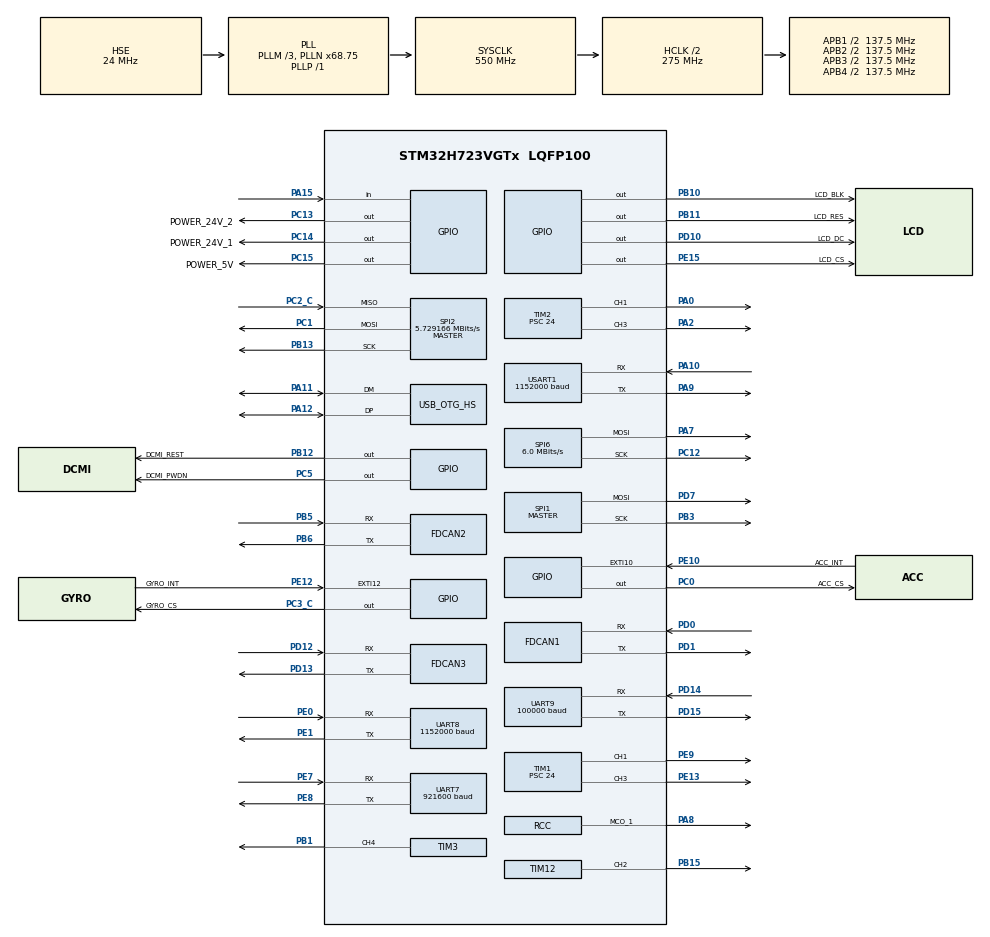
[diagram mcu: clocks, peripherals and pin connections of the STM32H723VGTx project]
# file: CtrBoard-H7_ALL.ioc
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CORTEX_M7.CPU_DCache=Enabled
CORTEX_M7.CPU_ICache=Enabled
Dma.Request0=UART7_TX
Dma.Request1=UART7_RX
Dma.Request2=USART1_RX
Dma.Request3=USART1_TX
Dma.Request4=UART9_RX
Dma.Request5=UART8_RX
Dma.Request6=UART8_TX
Dma.UART7_RX.1.Direction=DMA_PERIPH_TO_MEMORY
Dma.UART7_RX.1.EventEnable=DISABLE
Dma.UART7_RX.1.FIFOMode=DMA_FIFOMODE_DISABLE
Dma.UART7_RX.1.Instance=DMA1_Stream2
Dma.UART7_RX.1.MemDataAlignment=DMA_MDATAALIGN_BYTE
Dma.UART7_RX.1.MemInc=DMA_MINC_ENABLE
Dma.UART7_RX.1.Mode=DMA_CIRCULAR
Dma.UART7_RX.1.PeriphDataAlignment=DMA_PDATAALIGN_BYTE
Dma.UART7_RX.1.PeriphInc=DMA_PINC_DISABLE
Dma.UART7_RX.1.Polarity=HAL_DMAMUX_REQ_GEN_RISING
Dma.UART7_RX.1.Priority=DMA_PRIORITY_LOW
Dma.UART7_RX.1.RequestNumber=1
Dma.UART7_RX.1.SignalID=NONE
Dma.UART7_RX.1.SyncEnable=DISABLE
Dma.UART7_RX.1.SyncPolarity=HAL_DMAMUX_SYNC_NO_EVENT
Dma.UART7_RX.1.SyncRequestNumber=1
Dma.UART7_RX.1.SyncSignalID=NONE
Dma.UART7_TX.0.Direction=DMA_MEMORY_TO_PERIPH
Dma.UART7_TX.0.EventEnable=DISABLE
Dma.UART7_TX.0.FIFOMode=DMA_FIFOMODE_DISABLE
Dma.UART7_TX.0.Instance=DMA1_Stream1
Dma.UART7_TX.0.MemDataAlignment=DMA_MDATAALIGN_BYTE
Dma.UART7_TX.0.MemInc=DMA_MINC_ENABLE
Dma.UART7_TX.0.Mode=DMA_CIRCULAR
Dma.UART7_TX.0.PeriphDataAlignment=DMA_PDATAALIGN_BYTE
Dma.UART7_TX.0.PeriphInc=DMA_PINC_DISABLE
Dma.UART7_TX.0.Polarity=HAL_DMAMUX_REQ_GEN_RISING
Dma.UART7_TX.0.Priority=DMA_PRIORITY_LOW
Dma.UART7_TX.0.RequestNumber=1
Dma.UART7_TX.0.SignalID=NONE
Dma.UART7_TX.0.SyncEnable=DISABLE
Dma.UART7_TX.0.SyncPolarity=HAL_DMAMUX_SYNC_NO_EVENT
Dma.UART7_TX.0.SyncRequestNumber=1
Dma.UART7_TX.0.SyncSignalID=NONE
Dma.UART8_RX.5.Direction=DMA_PERIPH_TO_MEMORY
Dma.UART8_RX.5.EventEnable=DISABLE
Dma.UART8_RX.5.FIFOMode=DMA_FIFOMODE_DISABLE
Dma.UART8_RX.5.Instance=DMA1_Stream5
Dma.UART8_RX.5.MemDataAlignment=DMA_MDATAALIGN_BYTE
Dma.UART8_RX.5.MemInc=DMA_MINC_ENABLE
Dma.UART8_RX.5.Mode=DMA_CIRCULAR
Dma.UART8_RX.5.PeriphDataAlignment=DMA_PDATAALIGN_BYTE
Dma.UART8_RX.5.PeriphInc=DMA_PINC_DISABLE
Dma.UART8_RX.5.Polarity=HAL_DMAMUX_REQ_GEN_RISING
Dma.UART8_RX.5.Priority=DMA_PRIORITY_LOW
Dma.UART8_RX.5.RequestNumber=1
Dma.UART8_RX.5.SignalID=NONE
Dma.UART8_RX.5.SyncEnable=DISABLE
Dma.UART8_RX.5.SyncPolarity=HAL_DMAMUX_SYNC_NO_EVENT
Dma.UART8_RX.5.SyncRequestNumber=1
Dma.UART8_RX.5.SyncSignalID=NONE
Dma.UART8_TX.6.Direction=DMA_MEMORY_TO_PERIPH
Dma.UART8_TX.6.EventEnable=DISABLE
Dma.UART8_TX.6.FIFOMode=DMA_FIFOMODE_DISABLE
Dma.UART8_TX.6.Instance=DMA1_Stream7
Dma.UART8_TX.6.MemDataAlignment=DMA_MDATAALIGN_BYTE
Dma.UART8_TX.6.MemInc=DMA_MINC_ENABLE
Dma.UART8_TX.6.Mode=DMA_NORMAL
Dma.UART8_TX.6.PeriphDataAlignment=DMA_PDATAALIGN_BYTE
Dma.UART8_TX.6.PeriphInc=DMA_PINC_DISABLE
Dma.UART8_TX.6.Polarity=HAL_DMAMUX_REQ_GEN_RISING
Dma.UART8_TX.6.Priority=DMA_PRIORITY_LOW
Dma.UART8_TX.6.RequestNumber=1
Dma.UART8_TX.6.SignalID=NONE
Dma.UART8_TX.6.SyncEnable=DISABLE
Dma.UART8_TX.6.SyncPolarity=HAL_DMAMUX_SYNC_NO_EVENT
Dma.UART8_TX.6.SyncRequestNumber=1
Dma.UART8_TX.6.SyncSignalID=NONE
Dma.UART9_RX.4.Direction=DMA_PERIPH_TO_MEMORY
Dma.UART9_RX.4.EventEnable=DISABLE
Dma.UART9_RX.4.FIFOMode=DMA_FIFOMODE_DISABLE
Dma.UART9_RX.4.Instance=DMA1_Stream4
Dma.UART9_RX.4.MemDataAlignment=DMA_MDATAALIGN_BYTE
Dma.UART9_RX.4.MemInc=DMA_MINC_ENABLE
Dma.UART9_RX.4.Mode=DMA_CIRCULAR
Dma.UART9_RX.4.PeriphDataAlignment=DMA_PDATAALIGN_BYTE
Dma.UART9_RX.4.PeriphInc=DMA_PINC_DISABLE
Dma.UART9_RX.4.Polarity=HAL_DMAMUX_REQ_GEN_RISING
Dma.UART9_RX.4.Priority=DMA_PRIORITY_LOW
Dma.UART9_RX.4.RequestNumber=1
Dma.UART9_RX.4.SignalID=NONE
Dma.UART9_RX.4.SyncEnable=DISABLE
Dma.UART9_RX.4.SyncPolarity=HAL_DMAMUX_SYNC_NO_EVENT
Dma.UART9_RX.4.SyncRequestNumber=1
Dma.UART9_RX.4.SyncSignalID=NONE
Dma.USART1_RX.2.Direction=DMA_PERIPH_TO_MEMORY
Dma.USART1_RX.2.EventEnable=DISABLE
Dma.USART1_RX.2.FIFOMode=DMA_FIFOMODE_DISABLE
Dma.USART1_RX.2.Instance=DMA1_Stream3
Dma.USART1_RX.2.MemDataAlignment=DMA_MDATAALIGN_BYTE
Dma.USART1_RX.2.MemInc=DMA_MINC_ENABLE
Dma.USART1_RX.2.Mode=DMA_CIRCULAR
Dma.USART1_RX.2.PeriphDataAlignment=DMA_PDATAALIGN_BYTE
Dma.USART1_RX.2.PeriphInc=DMA_PINC_DISABLE
Dma.USART1_RX.2.Polarity=HAL_DMAMUX_REQ_GEN_RISING
Dma.USART1_RX.2.Priority=DMA_PRIORITY_LOW
Dma.USART1_RX.2.RequestNumber=1
Dma.USART1_RX.2.SignalID=NONE
Dma.USART1_RX.2.SyncEnable=DISABLE
Dma.USART1_RX.2.SyncPolarity=HAL_DMAMUX_SYNC_NO_EVENT
Dma.USART1_RX.2.SyncRequestNumber=1
Dma.USART1_RX.2.SyncSignalID=NONE
Dma.USART1_TX.3.Direction=DMA_MEMORY_TO_PERIPH
Dma.USART1_TX.3.EventEnable=DISABLE
Dma.USART1_TX.3.FIFOMode=DMA_FIFOMODE_DISABLE
Dma.USART1_TX.3.Instance=DMA1_Stream6
Dma.USART1_TX.3.MemDataAlignment=DMA_MDATAALIGN_BYTE
Dma.USART1_TX.3.MemInc=DMA_MINC_ENABLE
Dma.USART1_TX.3.Mode=DMA_NORMAL
Dma.USART1_TX.3.PeriphDataAlignment=DMA_PDATAALIGN_BYTE
Dma.USART1_TX.3.PeriphInc=DMA_PINC_DISABLE
Dma.USART1_TX.3.Polarity=HAL_DMAMUX_REQ_GEN_RISING
Dma.USART1_TX.3.Priority=DMA_PRIORITY_LOW
Dma.USART1_TX.3.RequestNumber=1
Dma.USART1_TX.3.SignalID=NONE
Dma.USART1_TX.3.SyncEnable=DISABLE
Dma.USART1_TX.3.SyncPolarity=HAL_DMAMUX_SYNC_NO_EVENT
Dma.USART1_TX.3.SyncRequestNumber=1
Dma.USART1_TX.3.SyncSignalID=NONE
FDCAN1.AutoRetransmission=ENABLE
FDCAN1.CalculateBaudRateNominal=1000000
FDCAN1.CalculateTimeBitNominal=1000
FDCAN1.CalculateTimeQuantumNominal=125.0
FDCAN1.DataPrescaler=3
FDCAN1.DataTimeSeg1=5
FDCAN1.DataTimeSeg2=2
FDCAN1.FrameFormat=FDCAN_FRAME_FD_BRS
FDCAN1.NominalPrescaler=3
FDCAN1.NominalTimeSeg1=5
FDCAN1.NominalTimeSeg2=2
FDCAN1.RxFifo0ElmtsNbr=32
FDCAN1.StdFiltersNbr=1
FDCAN1.TransmitPause=DISABLE
FDCAN1.TxFifoQueueElmtsNbr=32
FDCAN2.AutoRetransmission=ENABLE
FDCAN2.CalculateBaudRateNominal=1000000
FDCAN2.CalculateTimeBitNominal=1000
FDCAN2.CalculateTimeQuantumNominal=125.0
FDCAN2.DataPrescaler=3
FDCAN2.DataTimeSeg1=5
FDCAN2.DataTimeSeg2=2
FDCAN2.MessageRAMOffset=0x406
FDCAN2.NominalPrescaler=3
FDCAN2.NominalTimeSeg1=5
FDCAN2.NominalTimeSeg2=2
FDCAN2.RxFifo0ElmtsNbr=32
FDCAN2.StdFiltersNbr=1
FDCAN2.TxFifoQueueElmtsNbr=32
FDCAN3.AutoRetransmission=ENABLE
FDCAN3.CalculateBaudRateNominal=1000000
FDCAN3.CalculateTimeBitNominal=1000
FDCAN3.CalculateTimeQuantumNominal=125.0
FDCAN3.DataPrescaler=3
FDCAN3.DataTimeSeg1=5
FDCAN3.DataTimeSeg2=2
FDCAN3.FrameFormat=FDCAN_FRAME_CLASSIC
FDCAN3.MessageRAMOffset=0x812
FDCAN3.NominalPrescaler=3
FDCAN3.NominalTimeSeg1=5
FDCAN3.NominalTimeSeg2=2
FDCAN3.RxFifo0ElmtsNbr=32
FDCAN3.StdFiltersNbr=1
FDCAN3.TxFifoQueueElmtsNbr=32
FREERTOS.INCLUDE_eTaskGetState=1
FREERTOS.INCLUDE_pcTaskGetTaskName=1
FREERTOS.INCLUDE_uxTaskGetStackHighWaterMark=1
FREERTOS.INCLUDE_uxTaskGetStackHighWaterMark2=1
FREERTOS.INCLUDE_vTaskCleanUpResources=1
FREERTOS.INCLUDE_vTaskDelayUntil=1
FREERTOS.INCLUDE_xQueueGetMutexHolder=1
FREERTOS.INCLUDE_xSemaphoreGetMutexHolder=1
FREERTOS.INCLUDE_xTaskAbortDelay=1
FREERTOS.INCLUDE_xTaskGetCurrentTaskHandle=1
FREERTOS.INCLUDE_xTaskGetHandle=1
FREERTOS.INCLUDE_xTimerPendFunctionCall=1
FREERTOS.Tasks01=defaultTask,0,128,StartDefaultTask,Default,NULL,Dynamic,NULL,NULL;commTask,1,512,commTask_Entry,Default,NULL,Dynamic,NULL,NULL;imuTask,2,512,imuTask_Entry,Default,NULL,Dynamic,NULL,NULL;policyTask,2,2048,policyTask_Entry,Default,NULL,Dynamic,NULL,NULL;actuationTask,3,1024,actuationTask_Entry,Default,NULL,Dynamic,NULL,NULL
FREERTOS.configENABLE_FPU=1
FREERTOS.configTIMER_TASK_PRIORITY=2
FREERTOS.configTOTAL_HEAP_SIZE=30720
FREERTOS.configUSE_COUNTING_SEMAPHORES=1
FREERTOS.configUSE_RECURSIVE_MUTEXES=1
FREERTOS.configUSE_TIMERS=1
FREERTOS.configUSE_TRACE_FACILITY=0
Mcu.Family=STM32H7
Mcu.Name=STM32H723VGTx
Mcu.Package=LQFP100
NVIC.DMA1_Stream1_IRQn=true\:5\:0\:false\:false\:true\:true\:false\:true\:true
NVIC.DMA1_Stream2_IRQn=true\:5\:0\:false\:false\:true\:true\:false\:true\:true
NVIC.DMA1_Stream3_IRQn=true\:5\:0\:false\:false\:true\:true\:false\:true\:true
NVIC.DMA1_Stream4_IRQn=true\:5\:0\:false\:false\:true\:true\:false\:true\:true
NVIC.DMA1_Stream5_IRQn=true\:5\:0\:false\:false\:true\:true\:false\:true\:true
NVIC.DMA1_Stream6_IRQn=true\:5\:0\:false\:false\:true\:true\:false\:true\:true
NVIC.DMA1_Stream7_IRQn=true\:5\:0\:false\:false\:true\:true\:false\:true\:true
NVIC.FDCAN1_IT0_IRQn=true\:5\:0\:false\:false\:true\:true\:true\:true\:true
NVIC.FDCAN1_IT1_IRQn=true\:5\:0\:false\:false\:true\:true\:true\:true\:true
NVIC.FDCAN2_IT0_IRQn=true\:5\:0\:false\:false\:true\:true\:true\:true\:true
NVIC.FDCAN2_IT1_IRQn=true\:5\:0\:false\:false\:true\:true\:true\:true\:true
NVIC.FDCAN3_IT0_IRQn=true\:5\:0\:false\:false\:true\:true\:true\:true\:true
NVIC.FDCAN3_IT1_IRQn=true\:5\:0\:false\:false\:true\:true\:true\:true\:true
NVIC.OTG_HS_IRQn=true\:5\:0\:false\:false\:true\:true\:false\:true\:true
NVIC.PriorityGroup=NVIC_PRIORITYGROUP_4
NVIC.TIM23_IRQn=true\:15\:0\:false\:false\:true\:false\:false\:true\:true
NVIC.TIM6_DAC_IRQn=true\:5\:0\:false\:false\:true\:true\:true\:true\:true
NVIC.TimeBase=TIM23_IRQn
NVIC.TimeBaseIP=TIM23
NVIC.UART7_IRQn=true\:5\:0\:true\:false\:true\:false\:true\:true\:true
NVIC.UART8_IRQn=true\:5\:0\:false\:false\:true\:true\:true\:true\:true
NVIC.UART9_IRQn=true\:5\:0\:false\:false\:true\:true\:true\:true\:true
NVIC.USART1_IRQn=true\:5\:0\:true\:false\:true\:false\:true\:true\:true
PA0.Signal=S_TIM2_CH1_ETR
PA10.Mode=Asynchronous
PA10.Signal=USART1_RX
PA11.Mode=Device_Only_FS
PA11.Signal=USB_OTG_HS_DM
PA12.Mode=Device_Only_FS
PA12.Signal=USB_OTG_HS_DP
PA13(JTMS/SWDIO).Mode=Serial_Wire
PA13(JTMS/SWDIO).Signal=DEBUG_JTMS-SWDIO
PA14(JTCK/SWCLK).Mode=Serial_Wire
PA14(JTCK/SWCLK).Signal=DEBUG_JTCK-SWCLK
PA15(JTDI).Signal=GPIO_Input
PA2.Signal=S_TIM2_CH3
PA7.Mode=TX_Only_Simplex_Unidirect_Master
PA7.Signal=SPI6_MOSI
PA8.Mode=Clock-out-1
PA8.Signal=RCC_MCO_1
PA9.Mode=Asynchronous
PA9.Signal=USART1_TX
PB1.Signal=S_TIM3_CH4
PB10.GPIO_Label=LCD_BLK
PB10.Signal=GPIO_Output
PB11.GPIO_Label=LCD_RES
PB11.Signal=GPIO_Output
PB12.GPIO_Label=DCMI_REST
PB12.GPIO_PuPd=GPIO_PULLUP
PB12.GPIO_Speed=GPIO_SPEED_FREQ_VERY_HIGH
PB12.PinState=GPIO_PIN_SET
PB12.Signal=GPIO_Output
PB13.GPIO_Speed=GPIO_SPEED_FREQ_VERY_HIGH
PB13.Mode=Full_Duplex_Master
PB13.Signal=SPI2_SCK
PB15.Signal=S_TIM12_CH2
PB3(JTDO/TRACESWO).GPIO_Speed=GPIO_SPEED_FREQ_VERY_HIGH
PB3(JTDO/TRACESWO).Mode=TX_Only_Simplex_Unidirect_Master
PB3(JTDO/TRACESWO).Signal=SPI1_SCK
PB5.Mode=FDCAN_Activate
PB5.Signal=FDCAN2_RX
PB6.Mode=FDCAN_Activate
PB6.Signal=FDCAN2_TX
PC0.GPIO_Label=ACC_CS
PC0.GPIO_Speed=GPIO_SPEED_FREQ_VERY_HIGH
PC0.PinState=GPIO_PIN_SET
PC0.Signal=GPIO_Output
PC1.GPIO_Speed=GPIO_SPEED_FREQ_VERY_HIGH
PC1.Mode=Full_Duplex_Master
PC1.Signal=SPI2_MOSI
PC12.Mode=TX_Only_Simplex_Unidirect_Master
PC12.Signal=SPI6_SCK
PC13.GPIO_Label=POWER_24V_2
PC13.PinState=GPIO_PIN_SET
PC13.Signal=GPIO_Output
PC14-OSC32_IN.GPIO_Label=POWER_24V_1
PC14-OSC32_IN.PinState=GPIO_PIN_SET
PC14-OSC32_IN.Signal=GPIO_Output
PC15-OSC32_OUT.GPIO_Label=POWER_5V
PC15-OSC32_OUT.PinState=GPIO_PIN_SET
PC15-OSC32_OUT.Signal=GPIO_Output
PC2_C.GPIO_Speed=GPIO_SPEED_FREQ_VERY_HIGH
PC2_C.Mode=Full_Duplex_Master
PC2_C.Signal=SPI2_MISO
PC3_C.GPIO_Label=GYRO_CS
PC3_C.GPIO_Speed=GPIO_SPEED_FREQ_VERY_HIGH
PC3_C.PinState=GPIO_PIN_SET
PC3_C.Signal=GPIO_Output
PC5.GPIO_Label=DCMI_PWDN
PC5.GPIO_PuPd=GPIO_NOPULL
PC5.GPIO_Speed=GPIO_SPEED_FREQ_VERY_HIGH
PC5.PinState=GPIO_PIN_SET
PC5.Signal=GPIO_Output
PD0.Mode=FDCAN_Activate
PD0.Signal=FDCAN1_RX
PD1.Mode=FDCAN_Activate
PD1.Signal=FDCAN1_TX
PD10.GPIO_Label=LCD_DC
PD10.Signal=GPIO_Output
PD12.Mode=FDCAN_Activate
PD12.Signal=FDCAN3_RX
PD13.Mode=FDCAN_Activate
PD13.Signal=FDCAN3_TX
PD14.Mode=Asynchronous
PD14.Signal=UART9_RX
PD15.Mode=Asynchronous
PD15.Signal=UART9_TX
PD7.GPIO_Speed=GPIO_SPEED_FREQ_VERY_HIGH
PD7.Mode=TX_Only_Simplex_Unidirect_Master
PD7.Signal=SPI1_MOSI
PE0.Mode=Asynchronous
PE0.Signal=UART8_RX
PE1.Mode=Asynchronous
PE1.Signal=UART8_TX
PE10.GPIO_Label=ACC_INT
PE10.Signal=GPXTI10
PE12.GPIO_Label=GYRO_INT
PE12.Signal=GPXTI12
PE13.Signal=S_TIM1_CH3
PE15.GPIO_Label=LCD_CS
PE15.Signal=GPIO_Output
PE7.Mode=Asynchronous
PE7.Signal=UART7_RX
PE8.Mode=Asynchronous
PE8.Signal=UART7_TX
PE9.Signal=S_TIM1_CH1
PH0-OSC_IN.Mode=HSE-External-Oscillator
PH0-OSC_IN.Signal=RCC_OSC_IN
PH1-OSC_OUT.Mode=HSE-External-Oscillator
PH1-OSC_OUT.Signal=RCC_OSC_OUT
ProjectManager.HeapSize=0x800
ProjectManager.StackSize=0x800
ProjectManager.TargetToolchain=MDK-ARM V5.27
RCC.ADCFreq_Value=96000000
RCC.APB1Freq_Value=137500000
RCC.APB2Freq_Value=137500000
RCC.APB3Freq_Value=137500000
RCC.APB4Freq_Value=137500000
RCC.CortexFreq_Value=550000000
RCC.D1PPRE=RCC_APB3_DIV2
RCC.D2PPRE1=RCC_APB1_DIV2
RCC.D2PPRE2=RCC_APB2_DIV2
RCC.D3PPRE=RCC_APB4_DIV2
RCC.DIVM1=3
RCC.DIVM2=2
RCC.DIVN1=68
RCC.DIVN2=16
RCC.DIVP1=1
RCC.DIVQ1=3
RCC.EnbaleCSS=false
RCC.FDCANCLockSelection=RCC_FDCANCLKSOURCE_HSE
RCC.HCLKFreq_Value=275000000
RCC.HPRE=RCC_HCLK_DIV2
RCC.HSE_VALUE=24000000
RCC.PLL2FRACN=0
RCC.PLL2_VCI_Range-AdvancedSettings=RCC_PLL2VCIRANGE_0
RCC.PLL2_VCO_SEL-AdvancedSettings=RCC_PLL2VCOWIDE
RCC.PLL3FRACN=0
RCC.PLL3_VCO_SEL-AdvancedSettings=RCC_PLL3VCOMEDIUM
RCC.PLLFRACN=6144
RCC.PLLSourceVirtual=RCC_PLLSOURCE_HSE
RCC.SPI6CLockSelection=RCC_SPI6CLKSOURCE_HSE
RCC.SYSCLKFreq_VALUE=550000000
RCC.SYSCLKSource=RCC_SYSCLKSOURCE_PLLCLK
RCC.USBCLockSelection=RCC_USBCLKSOURCE_HSI48
RCC.USBFreq_Value=48000000
SH.S_TIM12_CH2.0=TIM12_CH2,PWM Generation2 CH2
SH.S_TIM1_CH1.0=TIM1_CH1,PWM Generation1 CH1
SH.S_TIM1_CH3.0=TIM1_CH3,PWM Generation3 CH3
SH.S_TIM2_CH1_ETR.0=TIM2_CH1,PWM Generation1 CH1
SH.S_TIM2_CH3.0=TIM2_CH3,PWM Generation3 CH3
SH.S_TIM3_CH4.0=TIM3_CH4,PWM Generation4 CH4
SPI1.BaudRatePrescaler=SPI_BAUDRATEPRESCALER_4
SPI1.CLKPolarity=SPI_POLARITY_HIGH
SPI1.CalculateBaudRate=45.833332 MBits/s
SPI1.DataSize=SPI_DATASIZE_8BIT
SPI1.Direction=SPI_DIRECTION_2LINES_TXONLY
SPI1.Mode=SPI_MODE_MASTER
SPI1.VirtualType=VM_MASTER
SPI2.BaudRatePrescaler=SPI_BAUDRATEPRESCALER_32
SPI2.CLKPhase=SPI_PHASE_2EDGE
SPI2.CLKPolarity=SPI_POLARITY_HIGH
SPI2.CalculateBaudRate=5.729166 MBits/s
SPI2.DataSize=SPI_DATASIZE_8BIT
SPI2.Direction=SPI_DIRECTION_2LINES
SPI2.Mode=SPI_MODE_MASTER
SPI2.VirtualType=VM_MASTER
SPI6.BaudRatePrescaler=SPI_BAUDRATEPRESCALER_4
SPI6.CLKPhase=SPI_PHASE_2EDGE
SPI6.CalculateBaudRate=6.0 MBits/s
SPI6.DataSize=SPI_DATASIZE_8BIT
SPI6.Direction=SPI_DIRECTION_2LINES_TXONLY
SPI6.Mode=SPI_MODE_MASTER
SPI6.VirtualType=VM_MASTER
STMicroelectronics.X-CUBE-AI.10.2.0.ActivationBufferSizeList=5100
STMicroelectronics.X-CUBE-AI.10.2.0.ActivationBuffers=pool0
STMicroelectronics.X-CUBE-AI.10.2.0.ActivationNames=pool0
STMicroelectronics.X-CUBE-AI.10.2.0.ActivationSizes=AI_NETWORKZN1_DATA_ACTIVATION_1_SIZE
STMicroelectronics.X-CUBE-AI.10.2.0.HeapSize=0x800
STMicroelectronics.X-CUBE-AI.10.2.0.InternalRamActivationBufferMaxSize=AI_NETWORKZN1_DATA_ACTIVATIONS_SIZE
STMicroelectronics.X-CUBE-AI.10.2.0.LatestDirectoryUsed-0f0e31d31f1e26a50c250fff853ff63904772c2039f2d0c569fd44311027b14e=C\:\\Users\\ynz\\Desktop\\zzzzzzzz\\0~0Hal_zzzz\\h723(DM_Borad)\\XYEGA_RM2026_WheelLeg_Infatry_RLdeploy-main\\pseudocode\\example\\onnx\\stable
STMicroelectronics.X-CUBE-AI.10.2.0.LatestDirectoryUsed-301daaeec0ac2cc533a16046af03d4ca865ba729386ae4017f9544c442a11d9b=C\:\\Users\\ynz\\Desktop
STMicroelectronics.X-CUBE-AI.10.2.0.LatestDirectoryUsed-4e3019861dd4673e1fc7d22039481e5629420e96bbde0999b446c887c9c844ae=C\:\\Users\\ynz\\Desktop\\zzzzzzzz\\0~0Hal_zzzz\\h723(DM_Borad)\\XYEGA_RM2026_WheelLeg_Infatry_RLdeploy-main\\pseudocode\\example\\onnx\\upstairs
STMicroelectronics.X-CUBE-AI.10.2.0.LatestDirectoryUsed-7975124662dd4425522c2c34e8f1622b51e5c35ca2b3422b2313b540a5ef6493=C\:\\Users\\ynz\\Desktop\\zzzzzzzz\\0~0Hal_zzzz\\h723(DM_Borad)\\XYEGA_RM2026_WheelLeg_Infatry_RLdeploy-main\\pseudocode\\example\\onnx\\upstairs
STMicroelectronics.X-CUBE-AI.10.2.0.MaximumNumberOfInputLayer=2
STMicroelectronics.X-CUBE-AI.10.2.0.MaximumNumberOfOutputLayer=1
STMicroelectronics.X-CUBE-AI.10.2.0.MaximumSizeOfInputLayer=1,1
STMicroelectronics.X-CUBE-AI.10.2.0.MaximumSizeOfOutputLayer=1,1
STMicroelectronics.X-CUBE-AI.10.2.0.ModelActualCompression-0f0e31d31f1e26a50c250fff853ff63904772c2039f2d0c569fd44311027b14e=0.0
STMicroelectronics.X-CUBE-AI.10.2.0.ModelActualCompression-301daaeec0ac2cc533a16046af03d4ca865ba729386ae4017f9544c442a11d9b=0.0
STMicroelectronics.X-CUBE-AI.10.2.0.ModelActualCompression-4e3019861dd4673e1fc7d22039481e5629420e96bbde0999b446c887c9c844ae=0.0
STMicroelectronics.X-CUBE-AI.10.2.0.ModelActualCompression-7975124662dd4425522c2c34e8f1622b51e5c35ca2b3422b2313b540a5ef6493=0.0
STMicroelectronics.X-CUBE-AI.10.2.0.ModelCompression-0f0e31d31f1e26a50c250fff853ff63904772c2039f2d0c569fd44311027b14e=None
STMicroelectronics.X-CUBE-AI.10.2.0.ModelCompression-301daaeec0ac2cc533a16046af03d4ca865ba729386ae4017f9544c442a11d9b=None
STMicroelectronics.X-CUBE-AI.10.2.0.ModelCompression-4e3019861dd4673e1fc7d22039481e5629420e96bbde0999b446c887c9c844ae=None
STMicroelectronics.X-CUBE-AI.10.2.0.ModelCompression-7975124662dd4425522c2c34e8f1622b51e5c35ca2b3422b2313b540a5ef6493=None
STMicroelectronics.X-CUBE-AI.10.2.0.ModelFlashOccupation-0f0e31d31f1e26a50c250fff853ff63904772c2039f2d0c569fd44311027b14e=169708
STMicroelectronics.X-CUBE-AI.10.2.0.ModelFlashOccupation-301daaeec0ac2cc533a16046af03d4ca865ba729386ae4017f9544c442a11d9b=169712
STMicroelectronics.X-CUBE-AI.10.2.0.ModelFlashOccupation-4e3019861dd4673e1fc7d22039481e5629420e96bbde0999b446c887c9c844ae=169708
STMicroelectronics.X-CUBE-AI.10.2.0.ModelFlashOccupation-7975124662dd4425522c2c34e8f1622b51e5c35ca2b3422b2313b540a5ef6493=169708
STMicroelectronics.X-CUBE-AI.10.2.0.ModelHashList=301daaeec0ac2cc533a16046af03d4ca865ba729386ae4017f9544c442a11d9b
STMicroelectronics.X-CUBE-AI.10.2.0.ModelKind-0f0e31d31f1e26a50c250fff853ff63904772c2039f2d0c569fd44311027b14e=ONNX
STMicroelectronics.X-CUBE-AI.10.2.0.ModelKind-301daaeec0ac2cc533a16046af03d4ca865ba729386ae4017f9544c442a11d9b=ONNX
STMicroelectronics.X-CUBE-AI.10.2.0.ModelKind-4e3019861dd4673e1fc7d22039481e5629420e96bbde0999b446c887c9c844ae=ONNX
STMicroelectronics.X-CUBE-AI.10.2.0.ModelKind-7975124662dd4425522c2c34e8f1622b51e5c35ca2b3422b2313b540a5ef6493=ONNX
STMicroelectronics.X-CUBE-AI.10.2.0.ModelMacc-0f0e31d31f1e26a50c250fff853ff63904772c2039f2d0c569fd44311027b14e=43401
STMicroelectronics.X-CUBE-AI.10.2.0.ModelMacc-301daaeec0ac2cc533a16046af03d4ca865ba729386ae4017f9544c442a11d9b=43401
STMicroelectronics.X-CUBE-AI.10.2.0.ModelMacc-4e3019861dd4673e1fc7d22039481e5629420e96bbde0999b446c887c9c844ae=43401
STMicroelectronics.X-CUBE-AI.10.2.0.ModelMacc-7975124662dd4425522c2c34e8f1622b51e5c35ca2b3422b2313b540a5ef6493=43401
STMicroelectronics.X-CUBE-AI.10.2.0.ModelName-0f0e31d31f1e26a50c250fff853ff63904772c2039f2d0c569fd44311027b14e=stable
STMicroelectronics.X-CUBE-AI.10.2.0.ModelName-301daaeec0ac2cc533a16046af03d4ca865ba729386ae4017f9544c442a11d9b=networkzn1
STMicroelectronics.X-CUBE-AI.10.2.0.ModelName-4e3019861dd4673e1fc7d22039481e5629420e96bbde0999b446c887c9c844ae=upstairs
STMicroelectronics.X-CUBE-AI.10.2.0.ModelName-7975124662dd4425522c2c34e8f1622b51e5c35ca2b3422b2313b540a5ef6493=upstairs
STMicroelectronics.X-CUBE-AI.10.2.0.ModelNameList=networkzn1
STMicroelectronics.X-CUBE-AI.10.2.0.ModelRamOccupation-0f0e31d31f1e26a50c250fff853ff63904772c2039f2d0c569fd44311027b14e=5044
STMicroelectronics.X-CUBE-AI.10.2.0.ModelRamOccupation-301daaeec0ac2cc533a16046af03d4ca865ba729386ae4017f9544c442a11d9b=5100
STMicroelectronics.X-CUBE-AI.10.2.0.ModelRamOccupation-4e3019861dd4673e1fc7d22039481e5629420e96bbde0999b446c887c9c844ae=5044
STMicroelectronics.X-CUBE-AI.10.2.0.ModelRamOccupation-7975124662dd4425522c2c34e8f1622b51e5c35ca2b3422b2313b540a5ef6493=5044
STMicroelectronics.X-CUBE-AI.10.2.0.ModelStructureFile-0f0e31d31f1e26a50c250fff853ff63904772c2039f2d0c569fd44311027b14e=C\:\\Users\\ynz\\Desktop\\zzzzzzzz\\0~0Hal_zzzz\\h723(DM_Borad)\\XYEGA_RM2026_WheelLeg_Infatry_RLdeploy-main\\pseudocode\\example\\onnx\\stable\\stable_pos0.23_0.65_p15.0_d1.0_0.1.onnx
STMicroelectronics.X-CUBE-AI.10.2.0.ModelStructureFile-301daaeec0ac2cc533a16046af03d4ca865ba729386ae4017f9544c442a11d9b=C\:\\Users\\ynz\\Desktop\\model_6000_h723.onnx
STMicroelectronics.X-CUBE-AI.10.2.0.ModelStructureFile-4e3019861dd4673e1fc7d22039481e5629420e96bbde0999b446c887c9c844ae=C\:\\Users\\ynz\\Desktop\\zzzzzzzz\\0~0Hal_zzzz\\h723(DM_Borad)\\XYEGA_RM2026_WheelLeg_Infatry_RLdeploy-main\\pseudocode\\example\\onnx\\upstairs\\upstairs_pos0.23_0.65_p15.0_d1.0_0.1.onnx
STMicroelectronics.X-CUBE-AI.10.2.0.ModelStructureFile-7975124662dd4425522c2c34e8f1622b51e5c35ca2b3422b2313b540a5ef6493=C\:\\Users\\ynz\\Desktop\\zzzzzzzz\\0~0Hal_zzzz\\h723(DM_Borad)\\XYEGA_RM2026_WheelLeg_Infatry_RLdeploy-main\\pseudocode\\example\\onnx\\upstairs\\upstairs_pos0.23_0.65_p15.0_d1.0_0.1.onnx
STMicroelectronics.X-CUBE-AI.10.2.0.ModelType-0f0e31d31f1e26a50c250fff853ff63904772c2039f2d0c569fd44311027b14e=STM32Cube.AI MCU runtime
STMicroelectronics.X-CUBE-AI.10.2.0.ModelType-301daaeec0ac2cc533a16046af03d4ca865ba729386ae4017f9544c442a11d9b=STM32Cube.AI MCU runtime
STMicroelectronics.X-CUBE-AI.10.2.0.ModelType-4e3019861dd4673e1fc7d22039481e5629420e96bbde0999b446c887c9c844ae=STM32Cube.AI MCU runtime
STMicroelectronics.X-CUBE-AI.10.2.0.ModelType-7975124662dd4425522c2c34e8f1622b51e5c35ca2b3422b2313b540a5ef6493=STM32Cube.AI MCU runtime
STMicroelectronics.X-CUBE-AI.10.2.0.ReadyForCodeGeneration=true
STMicroelectronics.X-CUBE-AI.10.2.0.StackSize=0x800
STMicroelectronics.X-CUBE-AI.10.2.0.WorkingBufferStartAddrList=0xFFFFFFFF
STMicroelectronics.X-CUBE-AI.10.2.0.XAaCUBEAaAICcArtificialOoIntelligenceJjCore=true
STMicroelectronics.X-CUBE-AI.10.2.0.copyWeightToRam=false
STMicroelectronics.X-CUBE-AI.10.2.0.copyWeightToRam-0f0e31d31f1e26a50c250fff853ff63904772c2039f2d0c569fd44311027b14e=false
STMicroelectronics.X-CUBE-AI.10.2.0.copyWeightToRam-301daaeec0ac2cc533a16046af03d4ca865ba729386ae4017f9544c442a11d9b=false
STMicroelectronics.X-CUBE-AI.10.2.0.copyWeightToRam-4e3019861dd4673e1fc7d22039481e5629420e96bbde0999b446c887c9c844ae=false
STMicroelectronics.X-CUBE-AI.10.2.0.copyWeightToRam-7975124662dd4425522c2c34e8f1622b51e5c35ca2b3422b2313b540a5ef6493=false
STMicroelectronics.X-CUBE-AI.10.2.0.customLayerConfigEnabled=false
STMicroelectronics.X-CUBE-AI.10.2.0.customLayerConfigEnabled-0f0e31d31f1e26a50c250fff853ff63904772c2039f2d0c569fd44311027b14e=false
STMicroelectronics.X-CUBE-AI.10.2.0.customLayerConfigEnabled-301daaeec0ac2cc533a16046af03d4ca865ba729386ae4017f9544c442a11d9b=false
STMicroelectronics.X-CUBE-AI.10.2.0.customLayerConfigEnabled-4e3019861dd4673e1fc7d22039481e5629420e96bbde0999b446c887c9c844ae=false
STMicroelectronics.X-CUBE-AI.10.2.0.customLayerConfigEnabled-7975124662dd4425522c2c34e8f1622b51e5c35ca2b3422b2313b540a5ef6493=false
STMicroelectronics.X-CUBE-AI.10.2.0.noOnnxIoTranspose=false
STMicroelectronics.X-CUBE-AI.10.2.0.noOnnxIoTranspose-0f0e31d31f1e26a50c250fff853ff63904772c2039f2d0c569fd44311027b14e=false
STMicroelectronics.X-CUBE-AI.10.2.0.noOnnxIoTranspose-301daaeec0ac2cc533a16046af03d4ca865ba729386ae4017f9544c442a11d9b=false
STMicroelectronics.X-CUBE-AI.10.2.0.noOnnxIoTranspose-4e3019861dd4673e1fc7d22039481e5629420e96bbde0999b446c887c9c844ae=false
STMicroelectronics.X-CUBE-AI.10.2.0.noOnnxIoTranspose-7975124662dd4425522c2c34e8f1622b51e5c35ca2b3422b2313b540a5ef6493=false
STMicroelectronics.X-CUBE-AI.10.2.0.optimization=time
STMicroelectronics.X-CUBE-AI.10.2.0.optimization-0f0e31d31f1e26a50c250fff853ff63904772c2039f2d0c569fd44311027b14e=time
STMicroelectronics.X-CUBE-AI.10.2.0.optimization-301daaeec0ac2cc533a16046af03d4ca865ba729386ae4017f9544c442a11d9b=time
STMicroelectronics.X-CUBE-AI.10.2.0.optimization-4e3019861dd4673e1fc7d22039481e5629420e96bbde0999b446c887c9c844ae=time
STMicroelectronics.X-CUBE-AI.10.2.0.useInputAllocation=true
STMicroelectronics.X-CUBE-AI.10.2.0.useInputAllocation-0f0e31d31f1e26a50c250fff853ff63904772c2039f2d0c569fd44311027b14e=true
STMicroelectronics.X-CUBE-AI.10.2.0.useInputAllocation-301daaeec0ac2cc533a16046af03d4ca865ba729386ae4017f9544c442a11d9b=true
STMicroelectronics.X-CUBE-AI.10.2.0.useInputAllocation-4e3019861dd4673e1fc7d22039481e5629420e96bbde0999b446c887c9c844ae=true
STMicroelectronics.X-CUBE-AI.10.2.0.useInputAllocation-7975124662dd4425522c2c34e8f1622b51e5c35ca2b3422b2313b540a5ef6493=true
STMicroelectronics.X-CUBE-AI.10.2.0.useOutputAllocation=true
STMicroelectronics.X-CUBE-AI.10.2.0.useOutputAllocation-0f0e31d31f1e26a50c250fff853ff63904772c2039f2d0c569fd44311027b14e=true
STMicroelectronics.X-CUBE-AI.10.2.0.useOutputAllocation-301daaeec0ac2cc533a16046af03d4ca865ba729386ae4017f9544c442a11d9b=true
STMicroelectronics.X-CUBE-AI.10.2.0.useOutputAllocation-4e3019861dd4673e1fc7d22039481e5629420e96bbde0999b446c887c9c844ae=true
STMicroelectronics.X-CUBE-AI.10.2.0.useOutputAllocation-7975124662dd4425522c2c34e8f1622b51e5c35ca2b3422b2313b540a5ef6493=true
STMicroelectronics.X-CUBE-ALGOBUILD.1.5.0.LibraryCcDSPOoLibraryJjDSPOoLibrary=true
TIM1.Channel-PWM\ Generation1\ CH1=TIM_CHANNEL_1
TIM1.Channel-PWM\ Generation3\ CH3=TIM_CHANNEL_3
TIM1.Period=10000
TIM1.Prescaler=24
TIM1.Pulse-PWM\ Generation1\ CH1=5000
TIM1.Pulse-PWM\ Generation3\ CH3=5000
TIM12.Channel-PWM\ Generation2\ CH2=TIM_CHANNEL_2
TIM12.Period=2000-1
TIM12.Prescaler=24-1
TIM2.Channel-PWM\ Generation1\ CH1=TIM_CHANNEL_1
TIM2.Channel-PWM\ Generation3\ CH3=TIM_CHANNEL_3
TIM2.Period=10000
TIM2.Prescaler=24
TIM2.Pulse-PWM\ Generation1\ CH1=5000
TIM2.Pulse-PWM\ Generation3\ CH3=5000
TIM3.AutoReloadPreload=TIM_AUTORELOAD_PRELOAD_ENABLE
TIM3.Channel-PWM\ Generation4\ CH4=TIM_CHANNEL_4
TIM3.Period=10000-1
TIM3.Prescaler=24-1
TIM6.Period=1999
TIM6.Prescaler=274
UART7.BaudRate=921600
UART8.BaudRate=1152000
UART9.BaudRate=100000
UART9.Parity=PARITY_EVEN
UART9.WordLength=WORDLENGTH_9B
USART1.BaudRate=1152000
USART1.VirtualMode-Asynchronous=VM_ASYNC
USB_DEVICE.CLASS_NAME_HS=CDC
USB_DEVICE.VirtualMode=Cdc
USB_DEVICE.VirtualModeHS=Cdc_HS
USB_OTG_HS.VirtualMode-Device_Only_FS=Device_Only_FS
VP_FREERTOS_VS_CMSIS_V1.Mode=CMSIS_V1
VP_MEMORYMAP_VS_MEMORYMAP.Mode=CurAppReg
VP_STMicroelectronics.X-CUBE-AI_VS_ArtificialOoIntelligenceJjXAaCUBEAaAI_10.2.0.Mode=ArtificialOoIntelligenceJjXAaCUBEAaAI
VP_STMicroelectronics.X-CUBE-ALGOBUILD_VS_DSPOoLibraryJjLibrary_1.5.0_1.5.0.Mode=DSPOoLibraryJjLibrary
VP_SYS_VS_tim23.Mode=TIM23
VP_TIM6_VS_ClockSourceINT.Mode=Enable_Timer
VP_USB_DEVICE_VS_USB_DEVICE_CDC_HS.Mode=CDC_HS
board=custom

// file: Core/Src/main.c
/* USER CODE BEGIN Header */
/**
  ******************************************************************************
  * @file           : main.c
  * @brief          : Main program body
  ******************************************************************************
  * @attention
  *
  * Copyright (c) 2024 STMicroelectronics.
  * All rights reserved.
  *
  * This software is licensed under terms that can be found in the LICENSE file
  * in the root directory of this software component.
  * If no LICENSE file comes with this software, it is provided AS-IS.
  *
  ******************************************************************************
  */
/* USER CODE END Header */
#include "main.h"
#include "cmsis_os.h"
#include "dma.h"
#include "fdcan.h"
#include "spi.h"
#include "tim.h"
#include "usart.h"
#include "usb_device.h"
#include "gpio.h"

/* USER CODE BEGIN Includes */
#include "uart_idle.h"
#include "dr16.h"
#include "can_bus.h"
#include "hi229.h"
#include "Attitude_Algorithm.h"
#include "dji.h"
#include "mono_ns.h"
#include "dm.h"
#include "robot_control.h"
#include "machine_config.h"
#include <stdio.h>
/* USER CODE END Includes */

void SystemClock_Config(void);
void MX_FREERTOS_Init(void);

/* USER CODE BEGIN 0 */
static void Machine_Apply_Fdcan_Data_Timing(FDCAN_HandleTypeDef *handle)
{
  if (handle->Init.DataPrescaler != MACHINE_FDCAN13_DATA_PRESCALER
      || handle->Init.DataTimeSeg1 != MACHINE_FDCAN13_DATA_SEG1
      || handle->Init.DataTimeSeg2 != MACHINE_FDCAN13_DATA_SEG2)
  {
    handle->Init.DataPrescaler = MACHINE_FDCAN13_DATA_PRESCALER;
    handle->Init.DataTimeSeg1 = MACHINE_FDCAN13_DATA_SEG1;
    handle->Init.DataTimeSeg2 = MACHINE_FDCAN13_DATA_SEG2;
    if (HAL_FDCAN_Init(handle) != HAL_OK)
    {
      Error_Handler();
    }
  }
}

static void Machine_Apply_Fdcan_Data_Timing_By_Profile(void)
{
  Machine_Apply_Fdcan_Data_Timing(&hfdcan1);
  Machine_Apply_Fdcan_Data_Timing(&hfdcan3);
}
/* USER CODE END 0 */

int main(void)
{

  /* Enable the CPU Cache */

  /* Enable I-Cache---------------------------------------------------------*/
  SCB_EnableICache();

  /* Enable D-Cache---------------------------------------------------------*/
  SCB_EnableDCache();

  /* MCU Configuration--------------------------------------------------------*/

  /* Reset of all peripherals, Initializes the Flash interface and the Systick. */
  HAL_Init();

  /* Configure the system clock */
  SystemClock_Config();

  /* Initialize all configured peripherals */
  MX_GPIO_Init();
  MX_DMA_Init();
  MX_TIM12_Init();
  MX_SPI1_Init();
  MX_SPI6_Init();
  MX_SPI2_Init();
  MX_TIM3_Init();
  MX_USART1_UART_Init();
  MX_UART7_Init();
  MX_FDCAN1_Init();
  MX_FDCAN2_Init();
  MX_FDCAN3_Init();
  MX_TIM1_Init();
  MX_TIM2_Init();
  MX_UART9_Init();
  MX_TIM6_Init();
  MX_UART8_Init();
  /* USER CODE BEGIN 2 */
  Machine_Apply_Fdcan_Data_Timing_By_Profile();
  Mono_Ns_Init();   /* 单调 ns 时钟 */
  DR16_Init();
  HI229_Init();
  Can_Bus_Init();
  // IMU_Init();       // BMI088 板载IMU (SPI2) —— 暂不使用
  Dji_Init();       // DJI电机 CAN回调注册
  Dm_Init();        // DM电机 CAN回调注册
  /* 机器: 见 machine_config.h 的 MACHINE_DEFAULT */
  HAL_GPIO_WritePin(GPIOC, POWER_24V_2_Pin|POWER_24V_1_Pin, GPIO_PIN_RESET);
  /* USER CODE END 2 */

  /* Call init function for freertos objects (in cmsis_os2.c) */
  MX_FREERTOS_Init();

  /* Start scheduler */
  osKernelStart();

  /* We should never get here as control is now taken by the scheduler */

  /* Infinite loop */
  /* USER CODE BEGIN WHILE */
  while (1)
  {
//	  vofa_start();

    /* USER CODE END WHILE */

  }
}

void SystemClock_Config(void)
{
  RCC_OscInitTypeDef RCC_OscInitStruct = {0};
  RCC_ClkInitTypeDef RCC_ClkInitStruct = {0};

  /** Supply configuration update enable
  */
  HAL_PWREx_ConfigSupply(PWR_LDO_SUPPLY);

  /** Configure the main internal regulator output voltage
  */
  __HAL_PWR_VOLTAGESCALING_CONFIG(PWR_REGULATOR_VOLTAGE_SCALE0);

  while(!__HAL_PWR_GET_FLAG(PWR_FLAG_VOSRDY)) {}

  /** Initializes the RCC Oscillators according to the specified parameters
  * in the RCC_OscInitTypeDef structure.
  */
  RCC_OscInitStruct.OscillatorType = RCC_OSCILLATORTYPE_HSI48|RCC_OSCILLATORTYPE_HSI
                              |RCC_OSCILLATORTYPE_HSE;
  RCC_OscInitStruct.HSEState = RCC_HSE_ON;
  RCC_OscInitStruct.HSIState = RCC_HSI_DIV1;
  RCC_OscInitStruct.HSICalibrationValue = 64;
  RCC_OscInitStruct.HSI48State = RCC_HSI48_ON;
  RCC_OscInitStruct.PLL.PLLState = RCC_PLL_ON;
  RCC_OscInitStruct.PLL.PLLSource = RCC_PLLSOURCE_HSE;
  RCC_OscInitStruct.PLL.PLLM = 3;
  RCC_OscInitStruct.PLL.PLLN = 68;
  RCC_OscInitStruct.PLL.PLLP = 1;
  RCC_OscInitStruct.PLL.PLLQ = 3;
  RCC_OscInitStruct.PLL.PLLR = 2;
  RCC_OscInitStruct.PLL.PLLRGE = RCC_PLL1VCIRANGE_3;
  RCC_OscInitStruct.PLL.PLLVCOSEL = RCC_PLL1VCOWIDE;
  RCC_OscInitStruct.PLL.PLLFRACN = 6144;
  if (HAL_RCC_OscConfig(&RCC_OscInitStruct) != HAL_OK)
  {
    Error_Handler();
  }

  /** Initializes the CPU, AHB and APB buses clocks
  */
  RCC_ClkInitStruct.ClockType = RCC_CLOCKTYPE_HCLK|RCC_CLOCKTYPE_SYSCLK
                              |RCC_CLOCKTYPE_PCLK1|RCC_CLOCKTYPE_PCLK2
                              |RCC_CLOCKTYPE_D3PCLK1|RCC_CLOCKTYPE_D1PCLK1;
  RCC_ClkInitStruct.SYSCLKSource = RCC_SYSCLKSOURCE_PLLCLK;
  RCC_ClkInitStruct.SYSCLKDivider = RCC_SYSCLK_DIV1;
  RCC_ClkInitStruct.AHBCLKDivider = RCC_HCLK_DIV2;
  RCC_ClkInitStruct.APB3CLKDivider = RCC_APB3_DIV2;
  RCC_ClkInitStruct.APB1CLKDivider = RCC_APB1_DIV2;
  RCC_ClkInitStruct.APB2CLKDivider = RCC_APB2_DIV2;
  RCC_ClkInitStruct.APB4CLKDivider = RCC_APB4_DIV2;

  if (HAL_RCC_ClockConfig(&RCC_ClkInitStruct, FLASH_LATENCY_3) != HAL_OK)
  {
    Error_Handler();
  }
  HAL_RCC_MCOConfig(RCC_MCO1, RCC_MCO1SOURCE_HSI, RCC_MCODIV_1);
}

void HAL_TIM_PeriodElapsedCallback(TIM_HandleTypeDef *htim)
{
  /* USER CODE BEGIN Callback 0 */
  if (htim->Instance == TIM6)
  {
    Mono_Ns_Tick();   /* 周期扩展 */
    osSemaphoreRelease(ctrl_tick_sem_handle);   /* 按机型配置的 TIM6 周期唤醒输出任务 */
    Policy_Tick_Div();                          /* 分频唤醒策略任务 */
  }
  /* USER CODE END Callback 0 */
  if (htim->Instance == TIM23)
  {
    HAL_IncTick();
  }
}

void Error_Handler(void)
{
  __disable_irq();
  while (1)
  {
  }
}

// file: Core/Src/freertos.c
/* USER CODE BEGIN Header */
/**
  ******************************************************************************
  * File Name          : freertos.c
  * Description        : Code for freertos applications
  ******************************************************************************
  * @attention
  *
  * Copyright (c) 2024 STMicroelectronics.
  * All rights reserved.
  *
  * This software is licensed under terms that can be found in the LICENSE file
  * in the root directory of this software component.
  * If no LICENSE file comes with this software, it is provided AS-IS.
  *
  ******************************************************************************
  */
/* USER CODE END Header */

#include "FreeRTOS.h"
#include "task.h"
#include "main.h"
#include "cmsis_os.h"

/* USER CODE BEGIN Includes */
#include "robot_control.h"
/* USER CODE END Includes */

osThreadId defaultTaskHandle;
osThreadId commTaskHandle;
osThreadId imuTaskHandle;
osThreadId policyTaskHandle;
osThreadId actuationTaskHandle;

void StartDefaultTask(void const * argument);
void commTask_Entry(void const * argument);
void imuTask_Entry(void const * argument);
void policyTask_Entry(void const * argument);
void actuationTask_Entry(void const * argument);

extern void MX_USB_DEVICE_Init(void);
void MX_FREERTOS_Init(void); /* (MISRA C 2004 rule 8.1) */

/* GetIdleTaskMemory prototype (linked to static allocation support) */
void vApplicationGetIdleTaskMemory( StaticTask_t **ppxIdleTaskTCBBuffer, StackType_t **ppxIdleTaskStackBuffer, uint32_t *pulIdleTaskStackSize );

/* GetTimerTaskMemory prototype (linked to static allocation support) */
void vApplicationGetTimerTaskMemory( StaticTask_t **ppxTimerTaskTCBBuffer, StackType_t **ppxTimerTaskStackBuffer, uint32_t *pulTimerTaskStackSize );

/* USER CODE BEGIN GET_IDLE_TASK_MEMORY */
static StaticTask_t xIdleTaskTCBBuffer;
static StackType_t xIdleStack[configMINIMAL_STACK_SIZE];

void vApplicationGetIdleTaskMemory( StaticTask_t **ppxIdleTaskTCBBuffer, StackType_t **ppxIdleTaskStackBuffer, uint32_t *pulIdleTaskStackSize )
{
  *ppxIdleTaskTCBBuffer = &xIdleTaskTCBBuffer;
  *ppxIdleTaskStackBuffer = &xIdleStack[0];
  *pulIdleTaskStackSize = configMINIMAL_STACK_SIZE;
  /* place for user code */
}
/* USER CODE END GET_IDLE_TASK_MEMORY */

/* USER CODE BEGIN GET_TIMER_TASK_MEMORY */
static StaticTask_t xTimerTaskTCBBuffer;
static StackType_t xTimerStack[configTIMER_TASK_STACK_DEPTH];

void vApplicationGetTimerTaskMemory( StaticTask_t **ppxTimerTaskTCBBuffer, StackType_t **ppxTimerTaskStackBuffer, uint32_t *pulTimerTaskStackSize )
{
  *ppxTimerTaskTCBBuffer = &xTimerTaskTCBBuffer;
  *ppxTimerTaskStackBuffer = &xTimerStack[0];
  *pulTimerTaskStackSize = configTIMER_TASK_STACK_DEPTH;
  /* place for user code */
}
/* USER CODE END GET_TIMER_TASK_MEMORY */

void MX_FREERTOS_Init(void) {

  /* USER CODE BEGIN RTOS_SEMAPHORES */
  Robot_Control_Init();
  /* USER CODE END RTOS_SEMAPHORES */

  /* Create the thread(s) */
  /* definition and creation of defaultTask */
  osThreadDef(defaultTask, StartDefaultTask, osPriorityNormal, 0, 128);
  defaultTaskHandle = osThreadCreate(osThread(defaultTask), NULL);

  /* definition and creation of commTask */
  osThreadDef(commTask, commTask_Entry, osPriorityAboveNormal, 0, 512);
  commTaskHandle = osThreadCreate(osThread(commTask), NULL);

  /* definition and creation of imuTask */
  osThreadDef(imuTask, imuTask_Entry, osPriorityHigh, 0, 512);
  imuTaskHandle = osThreadCreate(osThread(imuTask), NULL);

  /* definition and creation of policyTask */
  osThreadDef(policyTask, policyTask_Entry, osPriorityHigh, 0, 2048);
  policyTaskHandle = osThreadCreate(osThread(policyTask), NULL);

  /* definition and creation of actuationTask */
  osThreadDef(actuationTask, actuationTask_Entry, osPriorityRealtime, 0, 1024);
  actuationTaskHandle = osThreadCreate(osThread(actuationTask), NULL);

}

void StartDefaultTask(void const * argument)
{
  /* init code for USB_DEVICE */
  MX_USB_DEVICE_Init();
  for(;;)
  {
    osDelay(1);
  }
}

void commTask_Entry(void const * argument)
{
  /* USER CODE BEGIN commTask_Entry */
  for(;;)
  {
    comm_task_body();
    osDelay(1);
  }
  /* USER CODE END commTask_Entry */
}

void imuTask_Entry(void const * argument)
{
  /* USER CODE BEGIN imuTask_Entry */
  imu_task_init();
  for(;;)
  {
    imu_task_body();
    osDelay(1);
  }
  /* USER CODE END imuTask_Entry */
}

void policyTask_Entry(void const * argument)
{
  /* USER CODE BEGIN policyTask_Entry */
  ctrl_task_init();
  for(;;)
  {
    osSemaphoreWait(policy_tick_sem_handle, osWaitForever);   /* TIM6 分频节拍 */
    ctrl_task_body();
  }
  /* USER CODE END policyTask_Entry */
}

void actuationTask_Entry(void const * argument)
{
  /* USER CODE BEGIN actuationTask_Entry */
  output_task_init();
  for(;;)
  {
    osSemaphoreWait(ctrl_tick_sem_handle, osWaitForever);
    output_task_body();
  }
  /* USER CODE END actuationTask_Entry */
}
